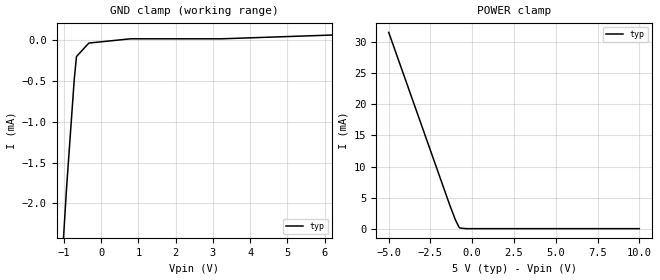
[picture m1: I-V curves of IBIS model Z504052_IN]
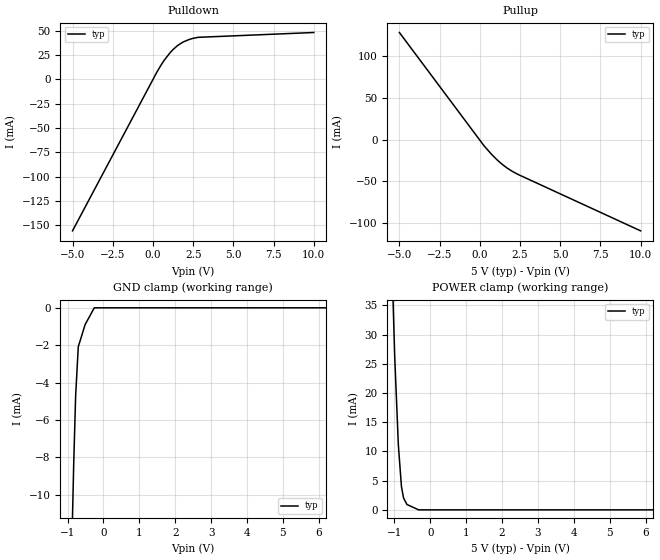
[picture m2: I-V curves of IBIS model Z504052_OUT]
| YOU ARE ONLY AUTHORIZED TO USE THIS SOFTWARE
| ACCORDING TO LICENSOR'S LICENSE RESTRICTIONS.
[IBIS Ver] 3.1
[File Name] mc54hc04aj.ibs
[File Rev] 2.0
[Source] Measured and created by ICX Technology
[Date] Friday 7/14/00 9:08:05 AM
[Copyright]
| (C) COPYRIGHT 1993-2000
| MENTOR GRAPHICS CORPORATION
| ICX STANDARD LIBRARY, ICX PROJECT MODELING,
| ICX CUSTOM MODELING, ICX VENDOR MODEL
| ALL RIGHTS RESERVED.
| THE FOLLOWING ARE TRADEMARKS OR SERVICE MARKS OF
| MENTOR GRAPHICS CORPORATION:ICX (R), ICX STANDARD
| LIBRARY(R), ICX PROJECT MODELING(R), ICX CUSTOM
| MODELING(R), qualityIBIS(TM), MODELVIEWER(TM),
| AND MODELEDITOR(TM)
| ALL COPIES OF SOFTWARE, INCLUDING BUT NOT LIMITED TO
| ANY MODIFICATIONS, ENHANCEMENTS OR DERIVATIVE WORKS,
| MUST CONTAIN ALL MENTOR GRAPHICS CORPORATION'S
| NOTICES AND LEGENDS, INCLUDING THOSE EMBEDDED IN
| SOFTWARE AND THOSE AFFIXED TO SOFTWARE MEDIUM
| AND CONTAINER, AS RECEIVED FROM MENTOR GRAPHICS
| CORPORATION.
|  ZAP Model Builder 2.7
[Component] MC54HC04AJ
[Manufacturer] OnSemiconductor
[Package]
| variable   typ   min   max
R_pkg  .21ohms NA NA
L_pkg  4.543nH NA NA
C_pkg  1.8pF NA NA
[Pin] signal_name  model_name  R_pin  L_pin C_pin
1 A Z504052_IN .22 6.757n 2.434p
2 Y Z504052_OUT .212 4.757n 1.941p
3 A Z504052_IN .204 3.257n 1.448p
4 Y Z504052_OUT .196 2.257n .955p
5 A Z504052_IN .204 3.257n 1.448p
6 Y Z504052_OUT .212 4.757n 1.941p
7 GND GND .22 6.757n 2.434p
8 Y Z504052_OUT .22 6.757n 2.434p
9 A Z504052_IN .212 4.757n 1.941p
10 Y Z504052_OUT .204 3.257n 1.448p
11 A Z504052_IN .196 2.257n .955p
12 Y Z504052_OUT .204 3.257n 1.448p
13 A Z504052_IN .212 4.757n 1.941p
14 VCC POWER .22 6.757n 2.434p
| Models and submodels in the file (2): Z504052_IN (Input), Z504052_OUT (Output)
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| (C) COPYRIGHT 1993-2000
| MENTOR GRAPHICS CORPORATION
| ICX STANDARD LIBRARY, ICX PROJECT MODELING,
| ICX CUSTOM MODELING, ICX VENDOR MODEL
| ALL RIGHTS RESERVED.
| THE FOLLOWING ARE TRADEMARKS OR SERVICE MARKS OF
| MENTOR GRAPHICS CORPORATION:ICX (R), ICX STANDARD
| LIBRARY(R), ICX PROJECT MODELING(R), ICX CUSTOM
| MODELING(R), qualityIBIS(TM), MODELVIEWER(TM),
| AND MODELEDITOR(TM)
| ALL COPIES OF SOFTWARE, INCLUDING BUT NOT LIMITED TO
| ANY MODIFICATIONS, ENHANCEMENTS OR DERIVATIVE WORKS,
| MUST CONTAIN ALL MENTOR GRAPHICS CORPORATION'S
| NOTICES AND LEGENDS, INCLUDING THOSE EMBEDDED IN
| SOFTWARE AND THOSE AFFIXED TO SOFTWARE MEDIUM
| AND CONTAINER, AS RECEIVED FROM MENTOR GRAPHICS
| CORPORATION.
| Model Application Version 1.89 2/18/99.
[Model] Z504052_IN
Model_type Input
Vinl = 1.000V
Vinh = 3.500V
C_comp 4.000pF NA NA
| variable typ   min   max
[Voltage Range] 5.000V NA NA
[GND Clamp Reference] 0.000V NA NA
[POWER Clamp Reference] 5.000V NA NA
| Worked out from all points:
|   GND clamp passes 1 mA (typ) near -0.80 V on its own axis
|   POWER clamp passes 1 mA (typ) near -0.93 V on its own axis
[GND Clamp]
-5V       -32.08mA   NA         NA
-928.6mV  -1.797mA   NA         NA
-723.6mV  -478.9uA   NA         NA
-664.1mV  -202.9uA   NA         NA
-332mV    -37.97uA   NA         NA
786.7mV   14.25uA    NA         NA
3.237V    14.25uA    NA         NA
10V       119.2uA    NA         NA
[POWER Clamp]
-5V       31.58mA    NA         NA
-1.348V   3.813mA    NA         NA
-1.016V   1.469mA    NA         NA
-806mV    316.3uA    NA         NA
-747mV    108uA      NA         NA
-373.5mV  0A         NA         NA
10V       0A         NA         NA
| (C) COPYRIGHT 1993-2000
| MENTOR GRAPHICS CORPORATION
| ICX STANDARD LIBRARY, ICX PROJECT MODELING,
| ICX CUSTOM MODELING, ICX VENDOR MODEL
| ALL RIGHTS RESERVED.
| THE FOLLOWING ARE TRADEMARKS OR SERVICE MARKS OF
| MENTOR GRAPHICS CORPORATION:ICX (R), ICX STANDARD
| LIBRARY(R), ICX PROJECT MODELING(R), ICX CUSTOM
| MODELING(R), qualityIBIS(TM), MODELVIEWER(TM),
| AND MODELEDITOR(TM)
| ALL COPIES OF SOFTWARE, INCLUDING BUT NOT LIMITED TO
| ANY MODIFICATIONS, ENHANCEMENTS OR DERIVATIVE WORKS,
| MUST CONTAIN ALL MENTOR GRAPHICS CORPORATION'S
| NOTICES AND LEGENDS, INCLUDING THOSE EMBEDDED IN
| SOFTWARE AND THOSE AFFIXED TO SOFTWARE MEDIUM
| AND CONTAINER, AS RECEIVED FROM MENTOR GRAPHICS
| CORPORATION.
| Model Application Version 1.89 2/18/99.
[Model] Z504052_OUT
Model_type Output
Vref=0.000V
Rref=500.0Mohms
Cref=50.00pF
Vmeas=2.500V
C_comp 8.000pF NA NA
| variable typ   min   max
[Voltage Range] 5.000V NA NA
[POWER Clamp Reference] 5.000V NA NA
[Pullup Reference] 5.000V NA NA
[Pulldown Reference] 0.000V NA NA
[GND Clamp Reference] 0.000V NA NA
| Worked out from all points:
|   slope of the pulldown table from 0 to 0.75 V, typ, clamps not added: 35.9 ohm
|   slope of the pullup table from 0 to 0.75 V, typ, clamps not added: 43.2 ohm
|   GND clamp passes 1 mA (typ) near -0.53 V on its own axis
|   POWER clamp passes 1 mA (typ) near -0.66 V on its own axis
[GND Clamp]
-5V       -358.2mA   NA         NA
-829.8mV  -8.321mA   NA         NA
-776.4mV  -4.721mA   NA         NA
-703.1mV  -2.09mA    NA         NA
-512.7mV  -901uA     NA         NA
-256.4mV  0A         NA         NA
10V       0A         NA         NA
[Pulldown]
-5V       -155.7mA   NA         NA
239.5mV   7.261mA    NA         NA
703.2mV   19.69mA    NA         NA
1.056V    27.16mA    NA         NA
1.525V    34.65mA    NA         NA
2.239V    40.89mA    NA         NA
2.773V    43.16mA    NA         NA
10V       48.16mA    NA         NA
[Pullup]
-5V       128.3mA    NA         NA
255mV     -7.185mA   NA         NA
708mV     -17.14mA   NA         NA
1.074V    -24.23mA   NA         NA
1.27V     -27.63mA   NA         NA
1.485V    -30.99mA   NA         NA
1.684V    -33.85mA   NA         NA
1.899V    -36.57mA   NA         NA
2.076V    -38.61mA   NA         NA
2.394V    -41.86mA   NA         NA
10V       -109.3mA   NA         NA
[POWER Clamp]
-5V       866.9mA    NA         NA
-996mV    26.61mA    NA         NA
-893mV    11.16mA    NA         NA
-806mV    3.973mA    NA         NA
-747mV    2.014mA    NA         NA
-653mV    917.2uA    NA         NA
-326.5mV  0A         NA         NA
10V       0A         NA         NA
[Ramp]
| variable typ min max
dV/dt_r 2.786/660.0p NA NA
dV/dt_f 2.786/614.4p NA NA
R_load = 500.0Ohms
